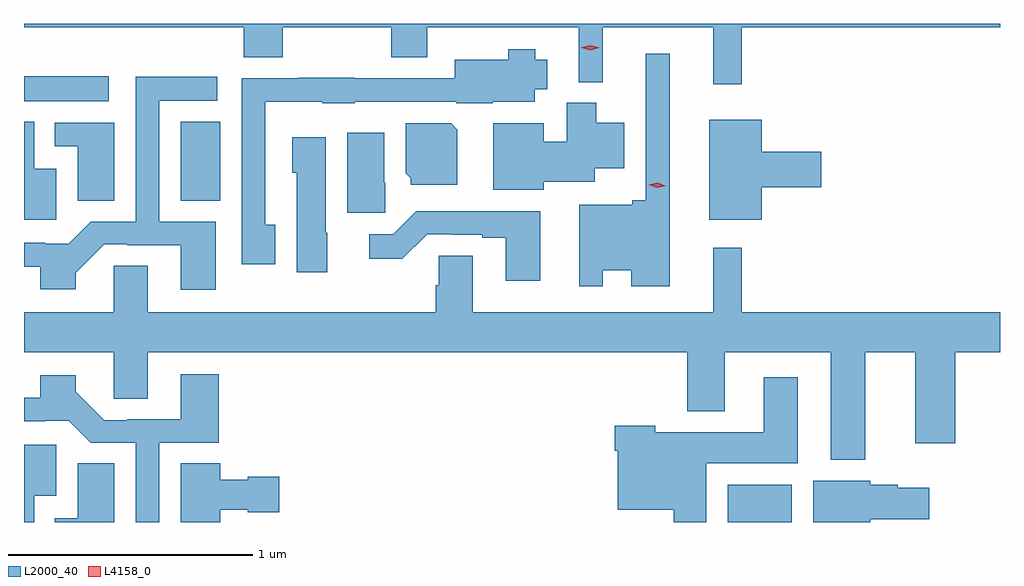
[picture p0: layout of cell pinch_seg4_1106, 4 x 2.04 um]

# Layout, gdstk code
import gdstk
lib = gdstk.Library(unit=1e-6, precision=1e-09)
def R(c, l, rs):  # rectangles x0, y0, x1, y1
    for r in rs: c.add(gdstk.rectangle(r[:2], r[2:], *l))
def P(c, l, *ps):  # polygons
    for p in ps: c.add(gdstk.Polygon(p, *l))
L2000_40 = (2000, 40)
L4158_0 = (4158, 0)

pinch_seg4_1106 = lib.new_cell('pinch_seg4_1106')
R(pinch_seg4_1106, L2000_40, [(487.916,830.754,488.179,830.908), (485.675,832.072,485.836,832.397), (485.032,832.481,485.38,832.582)])
P(pinch_seg4_1106, L2000_40, [(485.032,832.784),(485.933,832.784),(485.933,832.66),(486.093,832.66),(486.093,832.784),(486.538,832.784),(486.538,832.66),(486.685,832.66),(486.685,832.784),(487.305,832.784),(487.305,832.559),(487.403,832.559),(487.403,832.784),(487.856,832.784),(487.856,832.551),(487.973,832.551),(487.973,832.784),(489.032,832.784),(489.032,832.799),(485.032,832.799)],
  [(486.061,831.974),(486.021,831.974),(486.021,832.478),(486.255,832.478),(486.255,832.472),(486.387,832.472),(486.387,832.479),(486.804,832.479),(486.804,832.472),(486.954,832.472),(486.954,832.478),(487.126,832.478),(487.126,832.529),(487.177,832.529),(487.177,832.651),(487.127,832.651),(487.127,832.693),(487.017,832.693),(487.017,832.651),(486.797,832.651),(486.797,832.575),(486.387,832.575),(486.387,832.577),(486.155,832.577),(486.155,832.575),(485.925,832.575),(485.925,831.813),(486.061,831.813)],
  [(487.404,831.788),(487.52,831.788),(487.52,831.723),(487.678,831.723),(487.678,832.675),(487.581,832.675),(487.581,832.075),(487.524,832.075),(487.524,832.057),(487.308,832.057),(487.308,831.723),(487.404,831.723)],
  [(485.818,831.987),(485.586,831.987),(485.586,832.482),(485.824,832.482),(485.824,832.58),(485.49,832.58),(485.49,831.987),(485.306,831.987),(485.216,831.897),(485.12,831.897),(485.12,831.9),(485.032,831.9),(485.032,831.803),(485.098,831.803),(485.098,831.71),(485.245,831.71),(485.245,831.778),(485.361,831.894),(485.455,831.894),(485.455,831.891),(485.675,831.891),(485.675,831.708),(485.818,831.708)],
  [(487.162,832.151),(487.372,832.151),(487.372,832.205),(487.492,832.205),(487.492,832.393),(487.378,832.393),(487.378,832.474),(487.256,832.474),(487.256,832.315),(487.162,832.315),(487.162,832.39),(486.956,832.39),(486.956,832.118),(487.162,832.118)],
  [(488.056,832.127),(488.299,832.127),(488.299,832.274),(488.056,832.274),(488.056,832.405),(487.841,832.405),(487.841,831.995),(488.056,831.995)],
  [(485.164,832.204),(485.074,832.204),(485.074,832.396),(485.032,832.396),(485.032,831.995),(485.164,831.995)],
  [(485.401,832.392),(485.159,832.392),(485.159,832.296),(485.252,832.296),(485.252,832.072),(485.401,832.072)],
  [(486.808,832.364),(486.782,832.39),(486.596,832.39),(486.596,832.186),(486.618,832.164),(486.618,832.139),(486.808,832.139)],
  [(486.512,832.146),(486.508,832.146),(486.508,832.351),(486.356,832.351),(486.356,832.023),(486.512,832.023)],
  [(486.274,831.942),(486.268,831.942),(486.268,832.333),(486.131,832.333),(486.131,832.188),(486.149,832.188),(486.149,831.78),(486.274,831.78)],
  [(487.147,832.03),(486.64,832.03),(486.546,831.936),(486.447,831.936),(486.447,831.834),(486.582,831.834),(486.684,831.936),(486.784,831.936),(486.784,831.933),(486.911,831.933),(486.911,831.921),(487.007,831.921),(487.007,831.744),(487.147,831.744)],
  [(488.479,831.452),(488.684,831.452),(488.684,831.078),(488.848,831.078),(488.848,831.452),(489.032,831.452),(489.032,831.616),(487.973,831.616),(487.973,831.88),(487.856,831.88),(487.856,831.616),(486.871,831.616),(486.871,831.848),(486.732,831.848),(486.732,831.726),(486.719,831.726),(486.719,831.616),(485.539,831.616),(485.539,831.806),(485.4,831.806),(485.4,831.616),(485.032,831.616),(485.032,831.452),(485.4,831.452),(485.4,831.262),(485.539,831.262),(485.539,831.452),(487.751,831.452),(487.751,831.209),(487.903,831.209),(487.903,831.452),(488.339,831.452),(488.339,831.011),(488.479,831.011)],
  [(485.586,831.081),(485.831,831.081),(485.831,831.361),(485.675,831.361),(485.675,831.177),(485.455,831.177),(485.455,831.174),(485.361,831.174),(485.245,831.29),(485.245,831.358),(485.098,831.358),(485.098,831.266),(485.032,831.266),(485.032,831.168),(485.12,831.168),(485.12,831.171),(485.216,831.171),(485.306,831.081),(485.49,831.081),(485.49,830.754),(485.586,830.754)],
  [(487.828,830.996),(488.203,830.996),(488.203,831.349),(488.063,831.349),(488.063,831.124),(487.62,831.124),(487.62,831.151),(487.454,831.151),(487.454,831.047),(487.466,831.047),(487.466,830.807),(487.694,830.807),(487.694,830.754),(487.828,830.754)],
  [(485.074,830.864),(485.164,830.864),(485.164,831.073),(485.032,831.073),(485.032,830.754),(485.074,830.754)],
  [(485.836,830.807),(485.949,830.807),(485.949,830.795),(486.079,830.795),(486.079,830.942),(485.949,830.942),(485.949,830.929),(485.836,830.929),(485.836,830.996),(485.675,830.996),(485.675,830.754),(485.836,830.754)],
  [(485.401,830.996),(485.252,830.996),(485.252,830.772),(485.159,830.772),(485.159,830.754),(485.401,830.754)],
  [(488.5,830.767),(488.743,830.767),(488.743,830.896),(488.613,830.896),(488.613,830.909),(488.5,830.909),(488.5,830.926),(488.267,830.926),(488.267,830.754),(488.5,830.754)])
P(pinch_seg4_1106, L4158_0, [(487.627,832.126),(487.592,832.138),(487.591,832.138),(487.592,832.138),(487.627,832.146),(487.662,832.135),(487.663,832.135),(487.662,832.135)],
  [(487.353,832.69),(487.318,832.7),(487.317,832.7),(487.318,832.701),(487.354,832.71),(487.389,832.699),(487.389,832.699),(487.389,832.699)])

lib.write_gds('pinch_seg4_1106.gds')
